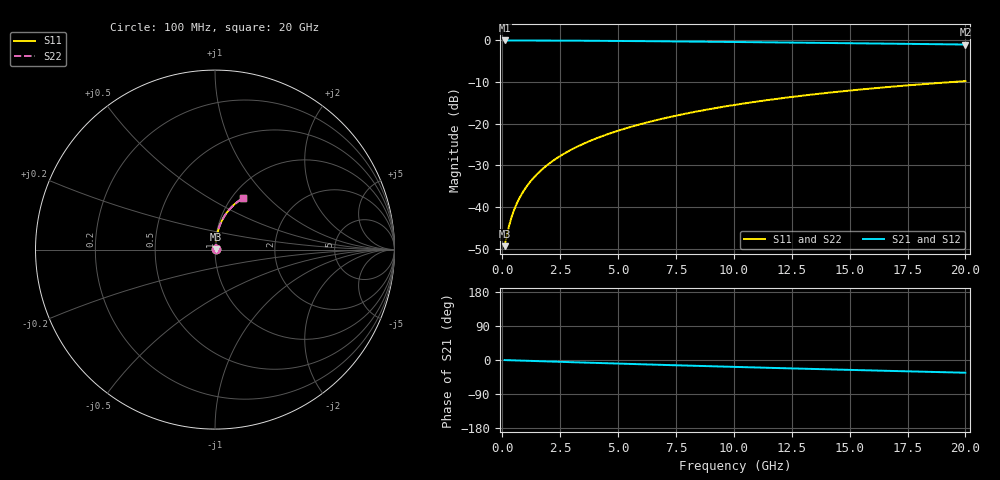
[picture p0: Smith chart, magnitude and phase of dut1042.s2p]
! Touchstone file exported from HFSS 2024.1.0
!  File:  C:/UserFiles/LocalFiles/RDL_TSV_Batchsim/temp_RDL_top_1042_1780044101.aedt
!  Generated:  04:44:07 PM May 29, 2026
!  Design:  RDL_top
!  Project:  temp_RDL_top_1042_1780044101
!  Setup:  Setup1
!  Solution:  Sweep
! Variables:
!  dtsv = 10.80580581um
!  hbump = 3um
!  htsv = 87um
!  ldown = 100um
!  lrdl = 479.41um
!  p = 40
!  p1 = 40.7um
!  rhole = 1um
!  t = 450um
!  tdown = 3.915915916um
!  trdl = 3.56um
!  wdown = 15.38538539um
!  wrdl = 17.4um
# GHz S MA R 50.000000
! Terminal data exported
! Port[1] = Box2_T1
! Port[2] = Box2_T2
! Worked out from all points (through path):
!   200 points, 100 MHz to 20 GHz, reference 50 ohm
!   highest |S21| = -0.03 dB at 100 MHz (marker M1); lowest = -1.0 dB at 20 GHz (marker M2)
!   group delay of S21, straight-line fit = 4.64 ps
!   lowest |S11| = -49.4 dB at 100 MHz (marker M3), VSWR 1.01, Z = 50.3 + j0.179 ohm
!   |S11| at or under -10 dB: start of sweep to 19.41 GHz
!   |S22| runs from -49.4 to -9.8 dB; largest |S21 - S12| = 3.1e-15
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0.1  0.003403 31.6  0.9971 -0.2  0.9971 -0.2  0.003403 31.6
! Gamma 0 0 0 0
! Port Impedance 50 0 50 0
0.2  0.004627 49.5  0.997 -0.4  0.997 -0.4  0.004627 49.5
0.3  0.006071 59.0  0.9968 -0.6  0.9968 -0.6  0.006071 59.0
0.4  0.007574 64.6  0.9967 -0.8  0.9967 -0.8  0.007575 64.6
0.5  0.009097 68.3  0.9966 -1.0  0.9966 -1.0  0.009098 68.3
0.6  0.01063 71.0  0.9964 -1.2  0.9964 -1.2  0.01063 71.0
0.8  0.01373 74.7  0.9962 -1.6  0.9962 -1.6  0.01373 74.7
1.1  0.01845 78.0  0.9958 -2.1  0.9958 -2.1  0.01845 78.0
1.3  0.02163 79.3  0.9955 -2.5  0.9955 -2.5  0.02163 79.3
1.6  0.02643 80.7  0.995 -3.1  0.995 -3.1  0.02643 80.7
2.1  0.0345 82.0  0.9939 -4.1  0.9939 -4.1  0.0345 82.0
2.7  0.04428 82.7  0.9924 -5.2  0.9924 -5.2  0.04428 82.7
3.5  0.05745 82.9  0.9898 -6.7  0.9898 -6.7  0.05744 82.9
4.2  0.06907 82.7  0.9871 -8.0  0.9871 -8.0  0.06906 82.7
5  0.08248 82.2  0.9836 -9.5  0.9836 -9.5  0.08245 82.2
5.9  0.09768 81.5  0.9793 -11.1  0.9793 -11.1  0.09765 81.4
6.8  0.113 80.6  0.9746 -12.7  0.9746 -12.7  0.1129 80.5
8.4  0.1403 78.7  0.9656 -15.5  0.9656 -15.5  0.1402 78.6
10.1  0.1693 76.4  0.9555 -18.3  0.9555 -18.3  0.1692 76.3
13.4  0.2243 71.6  0.9347 -23.6  0.9347 -23.6  0.2241 71.5
16.7  0.2764 66.6  0.9132 -28.7  0.9132 -28.7  0.2761 66.5
20  0.3245 61.7  0.8912 -33.6  0.8912 -33.6  0.3242 61.6
